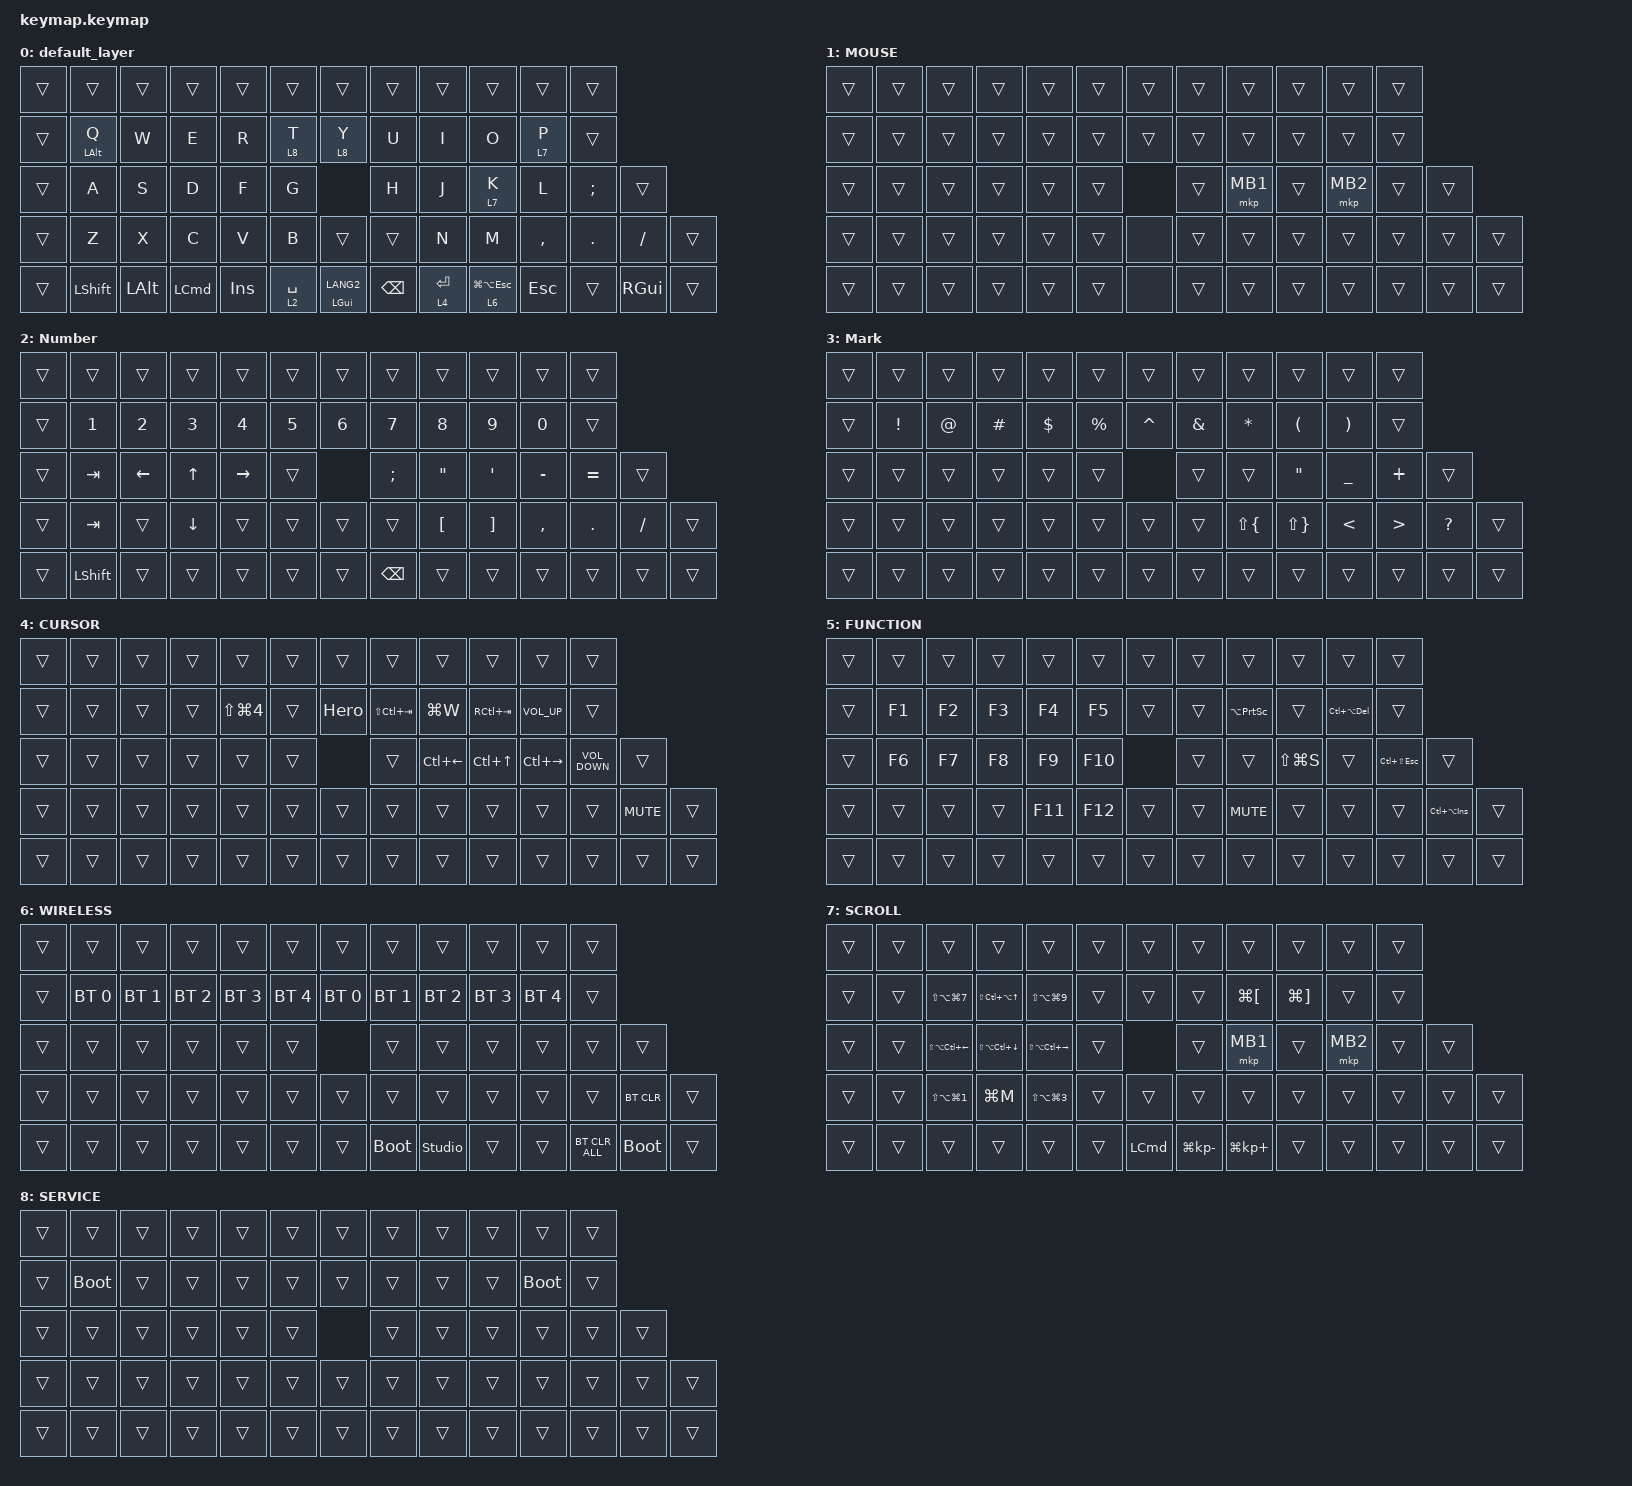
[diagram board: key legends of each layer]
/*
 * LiNEA40 (TR-keyboard main) -> torabo-tsuki S / right-side trackball.
 * v3 test candidate, 2026-11-07. No firmware / hardware test yet.
 *
 * Torabo's built-in PMW3610 uses automouse-layer=<1>, scroll-layers=<7>.
 * Layer 6 is Wireless, layer 7 is Scroll, to match this board definition.
 * Scroll-layer J/L always click (MB1/MB2) once layer 7 is active.
 * J+K and K+L combos are disabled in Mouse1 and Scroll7 to prevent conflicts.
 * Both combos are retained on other regular layers, alongside recovery combo.
 * ZMK Studio unlock restored from the LiNEA40 Wireless layer.
 * No changes to the PMW3610 driver, DTSI, timeout, or board configuration.
 * The initial P/K layer-tap still has a hold decision delay (~200 ms).
 * Until SCROLL7 is active, a quick K+J combo on base can still fire.
 *
 * NOT FIRMWARE BUILD TESTED. Do not flash without successful Actions build.
 * Ball-controlled volume / arrow movements from LiNEA40's encoder sensor
 * bindings cannot be assumed to work via torabo's PMW3610 input device.
 * Standard volume/arrow keys are retained on their original CURSOR layer.
 */
#include <behaviors.dtsi>
#include <dt-bindings/zmk/bt.h>
#include <dt-bindings/zmk/keys.h>
#include <dt-bindings/zmk/pointing.h>

#define MOUSE 1
#define NUMBER 2
#define MARK 3
#define CURSOR 4
#define FUNCTION 5
#define WIRELESS 6
#define SCROLL 7
#define SERVICE 8

/ {
    combos {
        compatible = "zmk,combos";
        ZenkakuHankaku {
            bindings = <&kp GRAVE>;
            key-positions = <26 27>;
        };
        DeleteKey {
            bindings = <&kp DEL>;
            key-positions = <20 21>;
        };
        InsertKey {
            bindings = <&kp INS>;
            key-positions = <19 20>;
        };
        RightClick {
            bindings = <&mkp MB2>;
            key-positions = <33 32>;
            layers = <0 2 3 4 5 6>;
        };
        PrevClick {
            bindings = <&mkp MB4>;
            key-positions = <46 47>;
        };
        ClickNext {
            bindings = <&mkp MB5>;
            key-positions = <45 46>;
        };
        alfred_f4 {
            bindings = <&kp F4>;
            key-positions = <27 28>;
        };
        Lang1 {
            bindings = <&kp LANG1>;
            key-positions = <31 32>;
            layers = <0 2 3 4 5 6>;
        };
        // Existing torabo recovery combo (active only in Number layer)
        bt_clear {
            bindings = <&bt BT_CLR>;
            key-positions = <28 29>;
            layers = <NUMBER>;
        };
    };
    macros {
        // Source LiNEA40 macro. Public repository: review before pushing.
        Hero: Hero {
            compatible = "zmk,behavior-macro";
            #binding-cells = <0>;
            bindings = <&kp LS(M) &kp A &kp T &kp E &kp T &kp A &kp Z &kp I &kp ENTER>;
            label = "HERO";
        };
        // Existing torabo screenshot macro retained.
        screenshot: screenshot {
            compatible = "zmk,behavior-macro";
            #binding-cells = <0>;
            bindings = <&kp LS(LG(NUMBER_4))>;
            label = "SCREENSHOT";
        };
    };
    keymap {
        compatible = "zmk,keymap";
        default_layer {
            bindings = <
                &trans  &trans  &trans  &trans  &trans  &trans  &trans  &trans  &trans  &trans  &trans  &trans
                &trans  &mt LEFT_ALT Q  &kp W  &kp E  &kp R  &lt 8 T  &lt 8 Y  &kp U  &kp I  &kp O  &lt 7 P  &trans
                &trans  &kp A  &kp S  &kp D  &kp F  &kp G  &kp H  &kp J  &lt 7 K  &kp L  &kp SEMI  &trans
                &trans  &kp Z  &kp X  &kp C  &kp V  &kp B  &trans  &trans  &kp N  &kp M  &kp COMMA  &kp DOT  &kp SLASH  &trans
                &trans  &kp LEFT_SHIFT  &kp LEFT_ALT  &kp LEFT_COMMAND  &kp INS  &lt 2 SPACE  &mt LEFT_GUI LANG2  &kp BACKSPACE  &lt 4 ENTER  &lt 6 LG(LA(ESC))  &kp ESC  &trans  &kp RGUI  &trans
            >;
        };
        MOUSE {
            bindings = <
                &trans  &trans  &trans  &trans  &trans  &trans  &trans  &trans  &trans  &trans  &trans  &trans
                &trans  &trans  &trans  &trans  &trans  &trans  &trans  &trans  &trans  &trans  &trans  &trans
                &trans  &trans  &trans  &trans  &trans  &trans  &trans  &mkp MB1  &trans  &mkp MB2  &trans  &trans
                &trans  &trans  &trans  &trans  &trans  &trans  &none  &trans  &trans  &trans  &trans  &trans  &trans  &trans
                &trans  &trans  &trans  &trans  &trans  &trans  &none  &trans  &trans  &trans  &trans  &trans  &trans  &trans
            >;
        };
        Number {
            bindings = <
                &trans  &trans  &trans  &trans  &trans  &trans  &trans  &trans  &trans  &trans  &trans  &trans
                &trans  &kp N1  &kp N2  &kp N3  &kp N4  &kp NUMBER_5  &kp N6  &kp NUMBER_7  &kp N8  &kp N9  &kp N0  &trans
                &trans  &kp TAB  &kp LEFT  &kp UP  &kp RIGHT_ARROW  &trans  &kp SEMICOLON  &kp DQT  &kp SQT  &kp MINUS  &kp EQUAL  &trans
                &trans  &kp TAB  &trans  &kp DOWN  &trans  &trans  &trans  &trans  &kp LEFT_BRACKET  &kp RIGHT_BRACKET  &kp COMMA  &kp PERIOD  &kp SLASH  &trans
                &trans  &kp LEFT_SHIFT  &trans  &trans  &trans  &trans  &trans  &kp BACKSPACE  &trans  &trans  &trans  &trans  &trans  &trans
            >;
        };
        Mark {
            bindings = <
                &trans  &trans  &trans  &trans  &trans  &trans  &trans  &trans  &trans  &trans  &trans  &trans
                &trans  &kp EXCLAMATION  &kp AT  &kp POUND  &kp DOLLAR  &kp PERCENT  &kp CARET  &kp AMPERSAND  &kp ASTERISK  &kp LEFT_PARENTHESIS  &kp RIGHT_PARENTHESIS  &trans
                &trans  &trans  &trans  &trans  &trans  &trans  &trans  &trans  &kp DOUBLE_QUOTES  &kp UNDERSCORE  &kp PLUS  &trans
                &trans  &trans  &trans  &trans  &trans  &trans  &trans  &trans  &kp LS(LEFT_BRACE)  &kp LS(RIGHT_BRACE)  &kp LESS_THAN  &kp GREATER_THAN  &kp QUESTION  &trans
                &trans  &trans  &trans  &trans  &trans  &trans  &trans  &trans  &trans  &trans  &trans  &trans  &trans  &trans
            >;
        };
        CURSOR {
            bindings = <
                &trans  &trans  &trans  &trans  &trans  &trans  &trans  &trans  &trans  &trans  &trans  &trans
                &trans  &trans  &trans  &trans  &kp LS(LG(N4))  &trans  &Hero  &kp LS(LC(TAB))  &kp LG(W)  &kp RC(TAB)  &kp C_VOLUME_UP  &trans
                &trans  &trans  &trans  &trans  &trans  &trans  &trans  &kp LC(LEFT)  &kp LC(UP)  &kp LC(RIGHT_ARROW)  &kp C_VOLUME_DOWN  &trans
                &trans  &trans  &trans  &trans  &trans  &trans  &trans  &trans  &trans  &trans  &trans  &trans  &kp K_MUTE  &trans
                &trans  &trans  &trans  &trans  &trans  &trans  &trans  &trans  &trans  &trans  &trans  &trans  &trans  &trans
            >;
        };
        FUNCTION {
            bindings = <
                &trans  &trans  &trans  &trans  &trans  &trans  &trans  &trans  &trans  &trans  &trans  &trans
                &trans  &kp F1  &kp F2  &kp F3  &kp F4  &kp F5  &trans  &trans  &kp LA(PRINTSCREEN)  &trans  &kp LC(LA(DELETE))  &trans
                &trans  &kp F6  &kp F7  &kp F8  &kp F9  &kp F10  &trans  &trans  &kp LS(LG(S))  &trans  &kp LC(LS(ESCAPE))  &trans
                &trans  &trans  &trans  &trans  &kp F11  &kp F12  &trans  &trans  &kp C_MUTE  &trans  &trans  &trans  &kp LC(LA(INS))  &trans
                &trans  &trans  &trans  &trans  &trans  &trans  &trans  &trans  &trans  &trans  &trans  &trans  &trans  &trans
            >;
        };
        WIRELESS {
            bindings = <
                &trans  &trans  &trans  &trans  &trans  &trans  &trans  &trans  &trans  &trans  &trans  &trans
                &trans  &bt BT_SEL 0  &bt BT_SEL 1  &bt BT_SEL 2  &bt BT_SEL 3  &bt BT_SEL 4  &bt BT_SEL 0  &bt BT_SEL 1  &bt BT_SEL 2  &bt BT_SEL 3  &bt BT_SEL 4  &trans
                &trans  &trans  &trans  &trans  &trans  &trans  &trans  &trans  &trans  &trans  &trans  &trans
                &trans  &trans  &trans  &trans  &trans  &trans  &trans  &trans  &trans  &trans  &trans  &trans  &bt BT_CLR  &trans
                &trans  &trans  &trans  &trans  &trans  &trans  &trans  &bootloader  &studio_unlock  &trans  &trans  &bt BT_CLR_ALL  &bootloader  &trans
            >;
        };
        SCROLL {
            bindings = <
                &trans  &trans  &trans  &trans  &trans  &trans  &trans  &trans  &trans  &trans  &trans  &trans
                &trans  &trans  &kp LS(LA(LG(N7)))  &kp LS(LC(LA(UP_ARROW)))  &kp LS(LA(LG(N9)))  &trans  &trans  &trans  &kp LG(LEFT_BRACKET)  &kp LG(RIGHT_BRACKET)  &trans  &trans
                &trans  &trans  &kp LS(LA(LC(LEFT_ARROW)))  &kp LS(LA(LC(DOWN)))  &kp LS(LA(LC(RIGHT_ARROW)))  &trans  &trans  &mkp MB1  &trans  &mkp MB2  &trans  &trans
                &trans  &trans  &kp LS(LA(LG(NUMBER_1)))  &kp LG(M)  &kp LS(LA(LG(NUMBER_3)))  &trans  &trans  &trans  &trans  &trans  &trans  &trans  &trans  &trans
                &trans  &trans  &trans  &trans  &trans  &trans  &kp LEFT_COMMAND  &kp LG(KP_MINUS)  &kp LG(KP_PLUS)  &trans  &trans  &trans  &trans  &trans
            >;
        };
        SERVICE {
            bindings = <
                &trans  &trans  &trans  &trans  &trans  &trans  &trans  &trans  &trans  &trans  &trans  &trans
                &trans  &bootloader  &trans  &trans  &trans  &trans  &trans  &trans  &trans  &trans  &bootloader  &trans
                &trans  &trans  &trans  &trans  &trans  &trans  &trans  &trans  &trans  &trans  &trans  &trans
                &trans  &trans  &trans  &trans  &trans  &trans  &trans  &trans  &trans  &trans  &trans  &trans  &trans  &trans
                &trans  &trans  &trans  &trans  &trans  &trans  &trans  &trans  &trans  &trans  &trans  &trans  &trans  &trans
            >;
        };
    };
};
